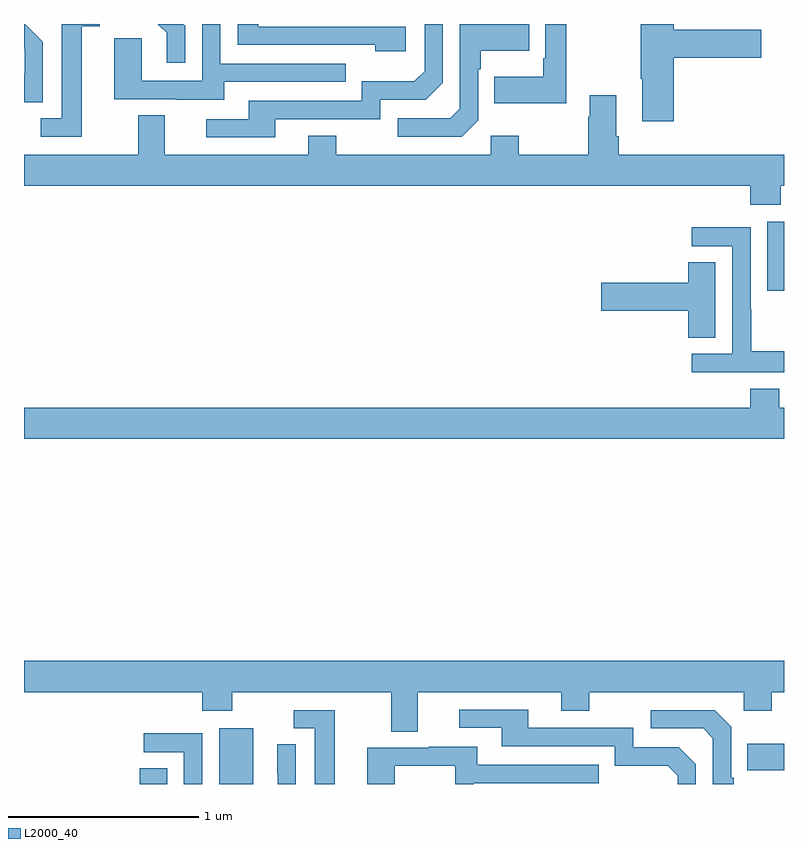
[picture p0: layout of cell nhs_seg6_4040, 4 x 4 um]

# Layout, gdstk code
import gdstk
lib = gdstk.Library(unit=1e-6, precision=1e-09)
def R(c, l, rs):  # rectangles x0, y0, x1, y1
    for r in rs: c.add(gdstk.rectangle(r[:2], r[2:], *l))
def P(c, l, *ps):  # polygons
    for p in ps: c.add(gdstk.Polygon(p, *l))
L2000_40 = (2000, 40)

nhs_seg6_4040 = lib.new_cell('nhs_seg6_4040')
R(nhs_seg6_4040, L2000_40, [(349.61,965.5,349.753,965.582), (350.027,965.5,350.206,965.794), (352.807,965.573,353,965.713), (352.913,968.097,353,968.458)])
P(nhs_seg6_4040, L2000_40, [(350.053,969.195),(350.693,969.195),(350.693,969.291),(350.034,969.291),(350.034,969.5),(349.938,969.5),(349.938,969.201),(349.62,969.201),(349.62,969.425),(349.475,969.425),(349.475,969.105),(349.799,969.105),(349.799,969.101),(350.053,969.101)],
  [(351.853,969.499),(351.841,969.499),(351.841,969.5),(351.744,969.5),(351.744,969.319),(351.732,969.319),(351.732,969.223),(351.475,969.223),(351.475,969.083),(351.853,969.083)],
  [(349.848,969.49),(349.838,969.5),(349.704,969.5),(349.751,969.453),(349.751,969.297),(349.848,969.297)],
  [(350.323,969),(350.874,969),(350.874,969.102),(351.114,969.102),(351.204,969.192),(351.204,969.5),(351.108,969.5),(351.108,969.252),(351.055,969.199),(350.778,969.199),(350.778,969.096),(350.183,969.096),(350.183,969),(349.959,969),(349.959,968.904),(350.323,968.904)],
  [(351.01,969.486),(350.233,969.486),(350.233,969.5),(350.124,969.5),(350.124,969.39),(350.849,969.39),(350.849,969.356),(351.01,969.356)],
  [(349.098,969.406),(349.025,969.479),(349.026,969.48),(349.006,969.5),(349,969.5),(349,969.369),(349.004,969.365),(349.004,969.242),(349.002,969.242),(349.002,969.088),(349.098,969.088)],
  [(352.421,969.323),(352.879,969.323),(352.879,969.47),(352.421,969.47),(352.421,969.5),(352.246,969.5),(352.246,969.211),(352.253,969.211),(352.253,968.988),(352.421,968.988)],
  [(349.303,969.488),(349.399,969.488),(349.399,969.5),(349.199,969.5),(349.199,969.003),(349.089,969.003),(349.089,968.907),(349.303,968.907)],
  [(351.39,968.994),(351.39,969.263),(351.403,969.263),(351.403,969.359),(351.659,969.359),(351.659,969.5),(351.294,969.5),(351.294,969.054),(351.243,969.003),(350.967,969.003),(350.967,968.907),(351.303,968.907)],
  [(352.983,968.648),(353,968.648),(353,968.812),(352.13,968.812),(352.13,968.908),(352.117,968.908),(352.117,969.124),(351.977,969.124),(351.977,969.011),(351.97,969.011),(351.97,968.812),(351.603,968.812),(351.603,968.911),(351.456,968.911),(351.456,968.812),(350.643,968.812),(350.643,968.911),(350.495,968.911),(350.495,968.812),(349.741,968.812),(349.741,969.02),(349.601,969.02),(349.601,968.812),(349,968.812),(349,968.648),(352.823,968.648),(352.823,968.549),(352.983,968.549)],
  [(353,967.777),(352.827,967.777),(352.827,968),(352.824,968),(352.824,968.43),(352.515,968.43),(352.515,968.331),(352.728,968.331),(352.728,967.764),(352.515,967.764),(352.515,967.668),(353,967.668)],
  [(352.639,968.246),(352.496,968.246),(352.496,968.138),(352.038,968.138),(352.038,967.991),(352.496,967.991),(352.496,967.849),(352.639,967.849)],
  [(353,967.48),(352.975,967.48),(352.975,967.579),(352.823,967.579),(352.823,967.48),(349,967.48),(349,967.316),(353,967.316)],
  [(351.073,965.984),(351.827,965.984),(351.827,965.885),(351.975,965.885),(351.975,965.984),(352.788,965.984),(352.788,965.885),(352.935,965.885),(352.935,965.984),(353,965.984),(353,966.148),(349,966.148),(349,965.984),(349.937,965.984),(349.937,965.885),(350.097,965.885),(350.097,965.984),(350.933,965.984),(350.933,965.776),(351.073,965.776)],
  [(352.536,965.604),(352.446,965.694),(352.206,965.694),(352.206,965.796),(351.655,965.796),(351.655,965.892),(351.291,965.892),(351.291,965.796),(351.515,965.796),(351.515,965.7),(352.11,965.7),(352.11,965.597),(352.387,965.597),(352.44,965.544),(352.44,965.5),(352.536,965.5)],
  [(352.735,965.533),(352.722,965.533),(352.722,965.802),(352.635,965.889),(352.299,965.889),(352.299,965.793),(352.575,965.793),(352.626,965.742),(352.626,965.5),(352.735,965.5)],
  [(350.635,965.889),(350.421,965.889),(350.421,965.793),(350.531,965.793),(350.531,965.5),(350.635,965.5)],
  [(349.938,965.766),(349.629,965.766),(349.629,965.667),(349.842,965.667),(349.842,965.5),(349.938,965.5)],
  [(350.43,965.708),(350.334,965.708),(350.334,965.554),(350.336,965.554),(350.336,965.5),(350.43,965.5)],
  [(350.952,965.595),(351.27,965.595),(351.27,965.5),(351.366,965.5),(351.366,965.505),(352.025,965.505),(352.025,965.601),(351.385,965.601),(351.385,965.695),(351.131,965.695),(351.131,965.691),(350.807,965.691),(350.807,965.5),(350.952,965.5)])

lib.write_gds('nhs_seg6_4040.gds')
